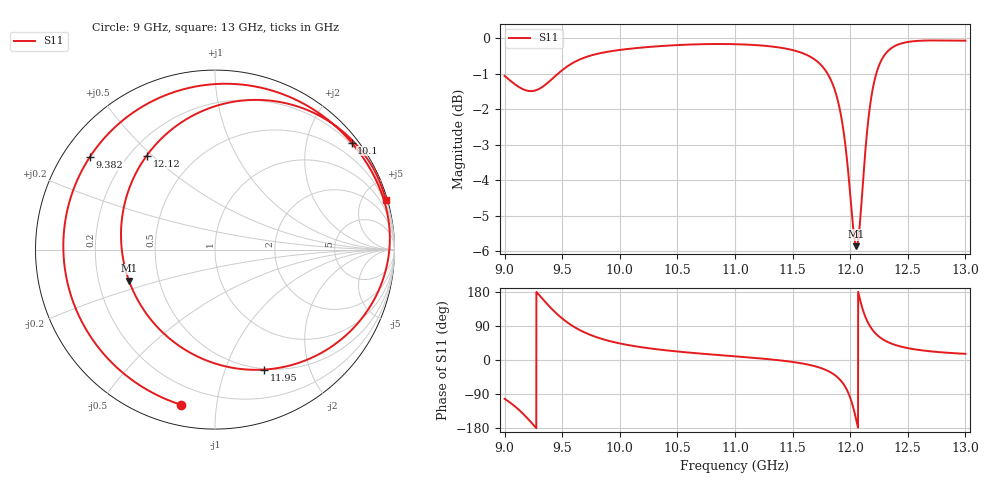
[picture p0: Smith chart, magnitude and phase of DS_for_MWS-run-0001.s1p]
! TOUCHSTONE file generated by CST DESIGN STUDIO
! Date and time: Tue Feb  4 16:29:33 2025
! Project name: C:\Work\MatlabApps\UnitCellOptimizationMatlab\CST\unitcell.cst
! Tree item: Tasks\Sweep1\SPara1\S-Parameters
! Header version: 2024
! Port assignment regex: !\s*Touchstone port\s*([0-9]+)\s*=\s*(CST MWS port|CST DES external port|CST DES block port)\s*(.+)\s* \(\"(.*)\"\)(\s*mode\s*([0-9]+))?.*
! Touchstone port assignment:
! Touchstone port 1 = CST DES external port 1 ("")
# GHz S MA R 50
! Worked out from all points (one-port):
!   4001 points, 9 GHz to 13 GHz, reference 50 ohm
!   lowest |S11| = -5.9 dB at 12.05 GHz (marker M1), VSWR 3.08, Z = 16.7 - j7.82 ohm
!   |S11| at or under -10 dB: nowhere
!   S11 on the Smith chart (normalised r, x): 9 GHz: 0.10, -0.80; 9.382 GHz: 0.08, +0.33; 10.1 GHz: 0.16, +2.89; 11.95 GHz: 0.49, -1.37; 12.12 GHz: 0.27, +0.48; 13 GHz: 0.20, +6.99
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9  0.8849 -102.5
9.118  0.8548 -129.8
9.232  0.8423 -165.0
9.306  0.8493 169.3
9.382  0.8674 143.5
9.5  0.9014 109.5
9.596  0.9235 88.7
9.726  0.9429 68.5
10  0.9625 43.7
10.097  0.9666 38.1
10.5  0.9778 22.4
11  0.9806 9.7
11.5  0.962 -5.1
11.682  0.9354 -15.5
11.801  0.8927 -28.0
11.885  0.8258 -44.2
11.951  0.7221 -67.8
12  0.603 -99.5
12.026  0.5406 -125.1
12.054  0.5095 -160.1
12.084  0.548 160.7
12.117  0.6474 126.0
12.146  0.7373 103.9
12.178  0.8155 86.2
12.273  0.9324 56.5
12.367  0.9705 42.2
12.5  0.9876 31.4
13  0.9919 16.3
